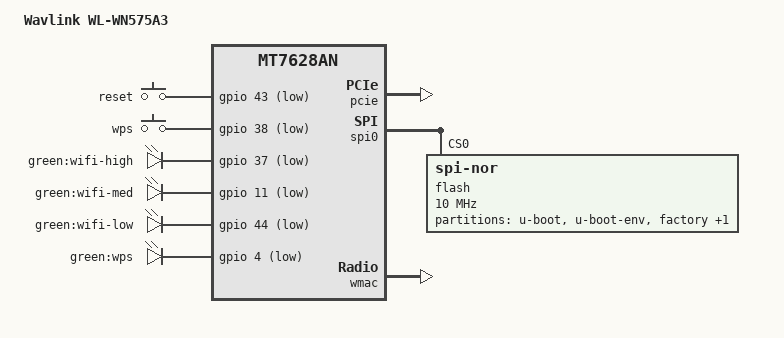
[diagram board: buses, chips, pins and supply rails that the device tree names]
#include "mt7628an.dtsi"

#include <dt-bindings/input/input.h>
#include <dt-bindings/gpio/gpio.h>

/ {
	compatible = "wavlink,wl-wn575a3", "mediatek,mt7628an-soc";
	model = "Wavlink WL-WN575A3";

	keys {
		compatible = "gpio-keys";

		reset {
			label = "reset";
			gpios = <&gpio 43 GPIO_ACTIVE_LOW>;
			linux,code = <KEY_RESTART>;
		};

		wps {
			label = "wps";
			gpios = <&gpio 38 GPIO_ACTIVE_LOW>;
			linux,code = <KEY_WPS_BUTTON>;
		};
	};

	leds {
		compatible = "gpio-leds";

		wifi-high {
			label = "green:wifi-high";
			gpios = <&gpio 37 GPIO_ACTIVE_LOW>;
		};

		wifi-med {
			label = "green:wifi-med";
			gpios = <&gpio 11 GPIO_ACTIVE_LOW>;
		};

		wifi-low {
			label = "green:wifi-low";
			gpios = <&gpio 44 GPIO_ACTIVE_LOW>;
		};

		wps {
			label = "green:wps";
			gpios = <&gpio 4 GPIO_ACTIVE_LOW>;
		};
	};
};

&state_default {
	gpio {
		groups = "i2c", "wled_an", "gpio", "refclk", "wdt", "p0led_an";
		function = "gpio";
	};
};

&pcie {
	status = "okay";
};

&pcie0 {
	mt76@0,0 {
		reg = <0x0000 0 0 0 0>;
		mediatek,mtd-eeprom = <&factory 0x8000>;
		ieee80211-freq-limit = <5000000 6000000>;
	};
};

&spi0 {
	status = "okay";

	flash@0 {
		compatible = "jedec,spi-nor";
		reg = <0>;
		spi-max-frequency = <10000000>;

		partitions {
			compatible = "fixed-partitions";
			#address-cells = <1>;
			#size-cells = <1>;

			partition@0 {
				label = "u-boot";
				reg = <0x0 0x30000>;
				read-only;
			};

			partition@30000 {
				label = "u-boot-env";
				reg = <0x30000 0x10000>;
				read-only;
			};

			factory: partition@40000 {
				label = "factory";
				reg = <0x40000 0x10000>;
				read-only;
			};

			partition@50000 {
				compatible = "denx,uimage";
				label = "firmware";
				reg = <0x50000 0x7b0000>;
			};
		};
	};
};

&wmac {
	status = "okay";
};

&ethernet {
	mtd-mac-address = <&factory 0x28>;
};

&esw {
	mediatek,portmap = <0x2f>;
};
